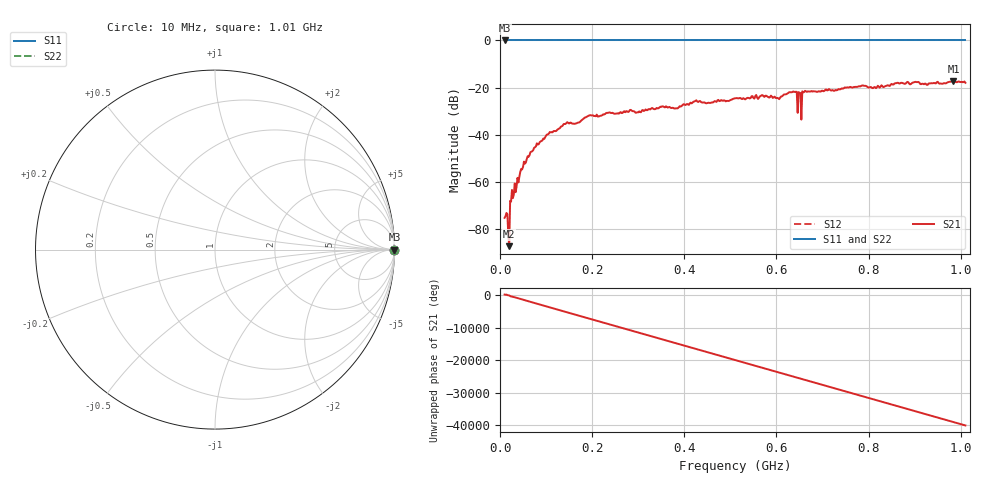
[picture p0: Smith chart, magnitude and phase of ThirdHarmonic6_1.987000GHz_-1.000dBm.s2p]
! 8/16/2025 11:53:22 PM
! C:\ANRITSUVNA\TEMP\TEMP.S2P
! CHANNEL.1
! TR.MEASUREMENT
! RAW.DATA
! RF.CORRECTION.OFF
! AVERAGING.OFF
! IF.BANDWIDTH: 5KHZ
! SWEEPTYPE:  FREQ.SWEEP(Linear)
! Reference Plane Port Info
! PORT:  PORT1  PORT2
! DISTANCE:  0  m  0  m
! TIME:  0  s  0  s
! PHASE.OFFSET:  0  deg.  0  deg.
! LOSS:  0  dB  0  dB
! REF.LOSS:  0  dB  0  dB
! REF.FREQ:  0  Hz  0  Hz
! Power Info
! POWER:  -20  dBm  -20  dBm
! EFF.POWER:  -20  dBm  -20  dBm
! SOURCE.ATTEN:  0  dB  0  dB
! TEST.ATTEN:  0  dB  0  dB
# GHZ S RI R 50.0
! FREQ.GHZ  S11RE  S11IM  S21RE  S21IM  S12RE  S12IM  S22RE  S22IM
!; PortSelection: Port_12
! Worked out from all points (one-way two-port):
!   501 points, 10 MHz to 1.01 GHz, reference 50 ohm
!   highest |S21| = -17.27 dB at 984 MHz (marker M1); lowest = -87.3 dB at 20 MHz (marker M2)
!   lowest |S11| = 0.0 dB at 10 MHz (marker M3)
!   |S11| at or under -10 dB: nowhere
!   |S22| runs from 0.0 to 0.0 dB; largest |S21 - S12| = 1.1
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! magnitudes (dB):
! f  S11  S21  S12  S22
! 10 MHz  0.0  -75.3  0.0  0.0
! 16 MHz  0.0  -73.7  0.0  0.0
! 20 MHz  0.0  -87.3  0.0  0.0
! 28 MHz  0.0  -66.9  0.0  0.0
! 48 MHz  0.0  -54.8  0.0  0.0
! 76 MHz  0.0  -45.3  0.0  0.0
! 142 MHz  0.0  -35.5  0.0  0.0
! 178 MHz  0.0  -33.8  0.0  0.0
! 196 MHz  0.0  -31.7  0.0  0.0
! 344 MHz  0.0  -28.8  0.0  0.0
! 510 MHz  0.0  -24.6  0.0  0.0
! 604 MHz  0.0  -24.6  0.0  0.0
! 640 MHz  0.0  -21.8  0.0  0.0
! 648 MHz  0.0  -21.9  0.0  0.0
! 650 MHz  0.0  -22.2  0.0  0.0
! 652 MHz  0.0  -22.3  0.0  0.0
! 658 MHz  0.0  -22.1  0.0  0.0
! 660 MHz  0.0  -21.9  0.0  0.0
! 678 MHz  0.0  -21.7  0.0  0.0
! 844 MHz  0.0  -19.2  0.0  0.0
! 984 MHz  0.0  -17.3  0.0  0.0
! 1.01 GHz  0.0  -18.0  0.0  0.0
